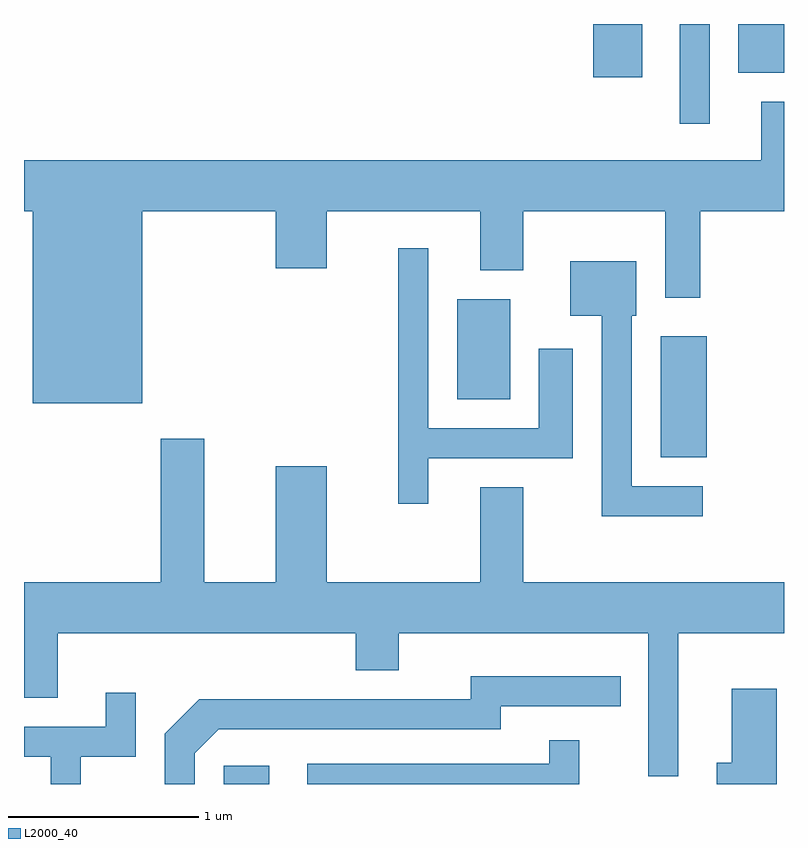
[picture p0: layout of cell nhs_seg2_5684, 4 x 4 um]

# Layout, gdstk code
import gdstk
lib = gdstk.Library(unit=1e-6, precision=1e-09)
def R(c, l, rs):  # rectangles x0, y0, x1, y1
    for r in rs: c.add(gdstk.rectangle(r[:2], r[2:], *l))
def P(c, l, *ps):  # polygons
    for p in ps: c.add(gdstk.Polygon(p, *l))
L2000_40 = (2000, 40)

nhs_seg2_5684 = lib.new_cell('nhs_seg2_5684')
R(nhs_seg2_5684, L2000_40, [(354.661,989.802,354.903,989.899), (356.961,991.521,357.204,992.159), (355.891,991.826,356.169,992.354), (357.061,993.278,357.219,993.802), (356.606,993.521,356.864,993.802), (357.371,993.546,357.611,993.802)])
P(nhs_seg2_5684, L2000_40, [(354.234,992.816),(354.936,992.816),(354.936,992.516),(355.204,992.516),(355.204,992.816),(356.011,992.816),(356.011,992.506),(356.239,992.506),(356.239,992.816),(356.986,992.816),(356.986,992.361),(357.169,992.361),(357.169,992.816),(357.611,992.816),(357.611,993.394),(357.491,993.394),(357.491,993.084),(353.611,993.084),(353.611,992.816),(353.656,992.816),(353.656,991.806),(354.234,991.806)],
  [(355.739,991.516),(356.499,991.516),(356.499,992.094),(356.321,992.094),(356.321,991.674),(355.739,991.674),(355.739,992.623),(355.581,992.623),(355.581,991.278),(355.739,991.278)],
  [(357.183,991.369),(356.809,991.369),(356.809,992.266),(356.834,992.266),(356.834,992.554),(356.486,992.554),(356.486,992.266),(356.651,992.266),(356.651,991.211),(357.183,991.211)],
  [(357.054,990.596),(357.611,990.596),(357.611,990.864),(356.239,990.864),(356.239,991.364),(356.011,991.364),(356.011,990.864),(355.204,990.864),(355.204,991.474),(354.936,991.474),(354.936,990.864),(354.559,990.864),(354.559,991.619),(354.331,991.619),(354.331,990.864),(353.611,990.864),(353.611,990.256),(353.789,990.256),(353.789,990.596),(355.356,990.596),(355.356,990.401),(355.584,990.401),(355.584,990.596),(356.896,990.596),(356.896,989.843),(357.054,989.843)],
  [(354.509,989.964),(354.637,990.091),(356.119,990.091),(356.119,990.211),(356.753,990.211),(356.753,990.369),(355.961,990.369),(355.961,990.249),(354.534,990.249),(354.351,990.067),(354.351,989.802),(354.509,989.802)],
  [(357.574,990.304),(357.336,990.304),(357.336,989.914),(357.256,989.914),(357.256,989.802),(357.574,989.802)],
  [(353.909,989.946),(354.199,989.946),(354.199,990.283),(354.041,990.283),(354.041,990.104),(353.611,990.104),(353.611,989.946),(353.751,989.946),(353.751,989.802),(353.909,989.802)],
  [(356.534,990.033),(356.376,990.033),(356.376,989.909),(355.103,989.909),(355.103,989.802),(356.534,989.802)])

lib.write_gds('nhs_seg2_5684.gds')
